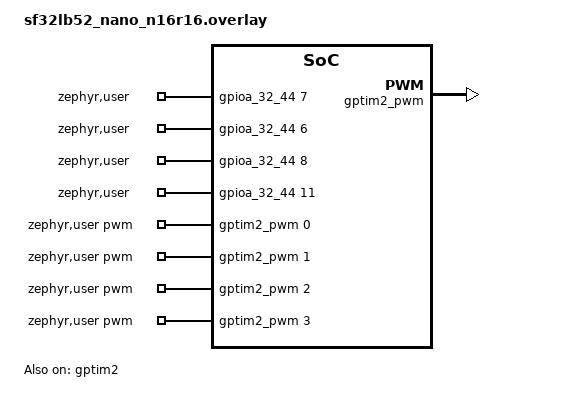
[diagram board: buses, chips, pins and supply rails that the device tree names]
/*
 * SPDX-FileCopyrightText: Copyright The Zephyr Project Contributors
 * SPDX-License-Identifier: Apache-2.0
 */

/* Test requires wire connection between:
 *  - GPTIM2_CH1 PWM output at PA00 <-> GPIO input at PA01
 */

#include <zephyr/dt-bindings/gpio/gpio.h>
#include <zephyr/dt-bindings/pwm/pwm.h>

/ {
	zephyr,user {
		pwms = <&gptim2_pwm 0 PWM_MSEC(20) PWM_POLARITY_NORMAL>,
		       <&gptim2_pwm 1 PWM_MSEC(20) PWM_POLARITY_NORMAL>,
		       <&gptim2_pwm 2 PWM_MSEC(20) PWM_POLARITY_NORMAL>,
		       <&gptim2_pwm 3 PWM_MSEC(20) PWM_POLARITY_NORMAL>;

		gpios = <&gpioa_32_44 7 GPIO_ACTIVE_HIGH>,
			<&gpioa_32_44 6 GPIO_ACTIVE_HIGH>,
			<&gpioa_32_44 8 GPIO_ACTIVE_HIGH>,
			<&gpioa_32_44 11 GPIO_ACTIVE_HIGH>;
	};
};

&pinctrl {
	gptim2_pwm_default: gptim2_pwm_default {
		group1 {
			pinmux = <PA37_GPTIM2_CH1
				  PA41_GPTIM2_CH2
				  PA42_GPTIM2_CH3
				  PA44_GPTIM2_CH4>;
		};
	};
};

&gptim2 {
	status = "okay";
	sifli,prescaler = <7>;

	gptim2_pwm: pwm {
		status = "okay";
		pinctrl-0 = <&gptim2_pwm_default>;
		pinctrl-names = "default";
	};
};

&gpioa_00_31 {
	status = "okay";
};
